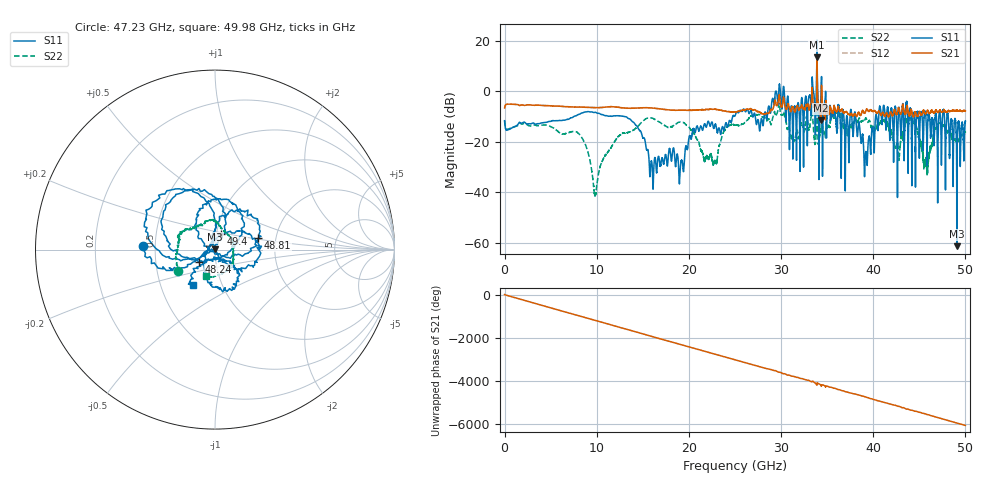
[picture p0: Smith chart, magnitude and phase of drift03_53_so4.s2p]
!Created with skrf (http://scikit-rf.org).
# Hz S RI R 50.0
!freq ReS11 ImS11 ReS21 ImS21 ReS12 ImS12 ReS22 ImS22
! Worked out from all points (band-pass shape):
!   10001 points, 300 kHz to 50 GHz, reference 50 ohm
!   highest |S21| = 13.55 dB at 33.9 GHz (marker M1); lowest = -11.4 dB at 34.32 GHz (marker M2)
!   |S21| within 3 dB of the highest: 33.89068 GHz to 33.90409 GHz (13.41 MHz wide, 0.0396 % of centre)
!   lowest |S11| = -61.3 dB at 49.07 GHz (marker M3), VSWR 1.00, Z = 50.1 + j0.0636 ohm
!   |S11| at or under -10 dB: start of sweep to 7.485 GHz; 13.13 GHz to 24.74 GHz (11.61 GHz wide, 61.3 % of centre); 38.09 GHz to 40.26 GHz (2.163 GHz wide, 5.52 % of centre) (the widest 3 of 45)
!   |S22| runs from -41.5 to 6.0 dB; largest |S21 - S12| = 0.33
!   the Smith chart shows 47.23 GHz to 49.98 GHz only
!   S11 on the Smith chart (normalised r, x): 47.23 GHz: 0.43, +0.02; 48.24 GHz: 0.83, -0.12; 48.81 GHz: 1.62, +0.22; 49.4 GHz: 1.05, +0.18; 49.98 GHz: 0.73, -0.31
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300000  -0.2341 -0.1196  0.4649 0.0804  0.4638 0.0802  -0.2328 -0.1271
1.440291e9  0.2098 0.0648  -0.548 -0.0296  -0.5483 -0.0292  0.2111 -0.00419
2.915283e9  -0.2121 -0.0882  0.5345 0.0514  0.5344 0.0513  -0.202 0.0402
4.415274e9  0.2055 0.1323  -0.5219 -0.0422  -0.5221 -0.0422  0.1983 -0.0873
8.33525e9  0.2886 -0.2331  0.1461 0.4657  0.1462 0.4663  -0.0727 -0.1013
9.845241e9  -0.3636 0.1291  -0.1483 -0.4526  -0.1484 -0.4524  0.0087 0.00202
1.66702e10  0.0269 0.0435  -0.3783 0.2534  -0.3788 0.2532  -0.1281 -0.2199
2.500015e10  -0.3266 -0.0152  -0.2542 -0.2969  -0.2541 -0.2985  -0.2133 0.0271
2.895013e10  -0.3194 0.4203  -0.2907 0.3236  -0.3042 0.2881  0.0618 0.2217
3.006512e10  0.4001 0.2678  0.4507 -0.1974  0.4539 -0.1824  0.1757 -0.2971
3.171011e10  -0.0911 0.1845  -0.363 0.3577  -0.3616 0.3569  0.0662 0.1585
3.33351e10  0.6508 -0.8292  0.2527 -0.8559  0.2571 -0.8306  -0.1872 -0.4254
3.38951e10  -2.45 -9.937  -4.692 0.7993  -4.411 0.9805  0.5076 1.93
3.432009e10  -0.7787 -0.00177  -0.1805 0.1998  -0.2422 0.1794  0.1431 -0.0734
4.167005e10  -0.2043 0.3022  0.3151 0.00248  0.3168 0.00906  -0.1919 -0.00461
4.723002e10  -0.4004 0.0214  0.2929 0.3099  0.2942 0.3084  -0.2079 -0.1169
4.824001e10  -0.0904 -0.0691  0.1092 -0.396  0.1115 -0.3982  -0.0189 0.1638
4.880501e10  0.241 0.0626  -0.3456 -0.2265  -0.3408 -0.2286  0.095 0.0577
4.906501e10  0.000576 0.000635  -0.4219 -0.0271  -0.4201 -0.0289  0.0964 0.0147
4.94e10  0.0312 0.086  -0.3352 0.248  -0.3369 0.2484  0.0994 -0.0649
4.998e10  -0.1236 -0.1997  0.1196 0.3936  0.1216 0.393  -0.0512 -0.1489
5e10  -0.1216 -0.2299  0.1411 0.3857  0.143 0.3839  -0.0512 -0.1433
